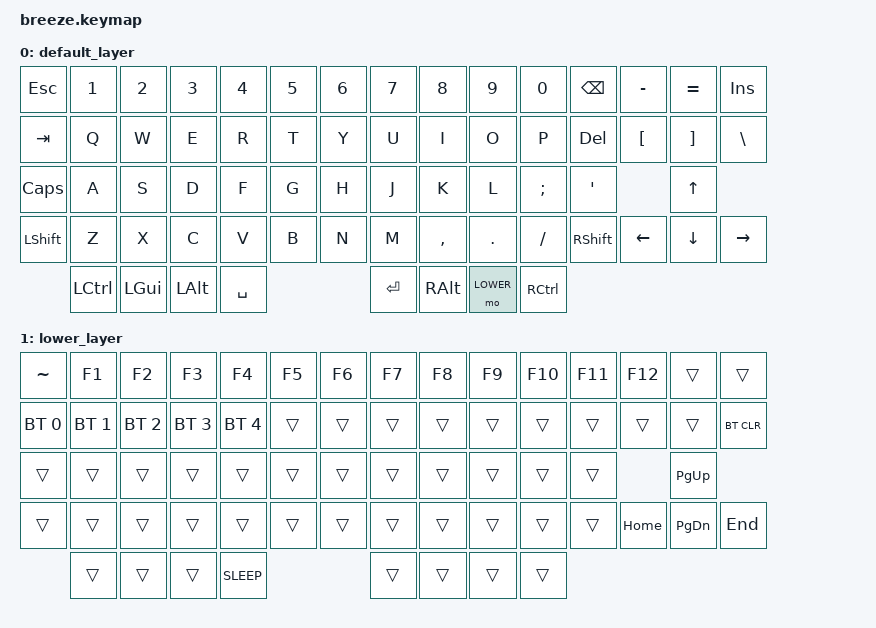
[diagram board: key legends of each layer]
/*
 * Copyright (c) 2020 The ZMK Contributors
 *
 * SPDX-License-Identifier: MIT
 */

#include <behaviors.dtsi>
#include <dt-bindings/zmk/keys.h>
#include <dt-bindings/zmk/bt.h>

#define LOWER 1

/ {
        keymap {
                compatible = "zmk,keymap";

                default_layer {
// -----------------------------------------------------------------------------------------
// | ESC  |  1  |  2  |  3  |  4  |  5  |   |  6  |  7   |  8  |  9  |  0  | BKSP | -   |  =   |  INS |
// |  TAB |  Q  |  W  |  E  |  R  |  T  |   |  Y  |  U   |  I  |  O  |  P  | DEL  | [   |  ]   |  \   | 
// | CAPS |  A  |  S  |  D  |  F  |  G  |   |  H  |  J   |  K  |  L  |  ;  |  '   |     |  UP  |      |
// | SHFT |  Z  |  X  |  C  |  V  |  B  |   |  N  |  M   |  ,  |  .  |  /  | SHFT |LEFT | DOWN | RIGHT|
//              | CTRL| GUI | LALT| SPC |   | ENT | RALT | MO1 | CTRL|
                        bindings = <
   &kp ESC   &kp N1 &kp N2 &kp N3 &kp N4 &kp N5   &kp N6 &kp N7  &kp N8     &kp N9   &kp N0    &kp BSPC   &kp MINUS &kp EQUAL &kp INS                  
   &kp TAB   &kp Q  &kp W  &kp E  &kp R  &kp T    &kp Y  &kp U   &kp I      &kp O    &kp P     &kp DEL    &kp LBKT  &kp RBKT  &kp BSLH
   &kp CAPS  &kp A  &kp S  &kp D  &kp F  &kp G    &kp H  &kp J   &kp K      &kp L    &kp SEMI  &kp SQT              &kp UP
   &kp LSHFT &kp Z  &kp X  &kp C  &kp V  &kp B    &kp N  &kp M   &kp COMMA  &kp DOT  &kp FSLH  &kp RSHFT  &kp LEFT  &kp DOWN  &kp RIGHT
             &kp LCTRL &kp LGUI &kp LALT &kp SPACE  &kp RET  &kp RALT &mo LOWER  &kp RCTRL
                        >;
                };
                lower_layer {
// -----------------------------------------------------------------------------------------
// |C_SLEEP|  F1       |  F2        |  F3        |  F4        |  F5        |   |  F6 |  F7  |  F8 |  F9 | F10 | F11  | F12 |      |      |
// |       |  BT_SEL 0 |  BT_SEL 0  |  BT_SEL 0  |  BT_SEL 0  |  BT_SEL 0  |   |     |      |     |     |     |      |     |      |      | 
// |       |           |            |            |            |            |   |     |      |     |     |     |      |     |PG_UP |      |
// |       |           |            |            |            |            |   |     |      |     |     |     |      |HOME |PG_DN | END  |
//              |     |     |     |     |   |     |      |     |     |
                        bindings = <
&kp TILDE  &kp F1  &kp F2  &kp F3  &kp F4  &kp F5      &kp F6  &kp F7  &kp F8  &kp F9  &kp F10  &kp F11  &kp F12  &trans  &trans
&bt BT_SEL 0  &bt BT_SEL 1  &bt BT_SEL 2  &bt BT_SEL 3  &bt BT_SEL 4        &trans  &trans  &trans  &trans  &trans  &trans  &trans  &trans  &trans
&bt BT_CLR  &trans  &trans  &trans  &trans  &trans      &trans &trans &trans  &trans  &trans  &trans   &trans  &kp PG_UP  
&trans  &trans  &trans  &trans  &trans  &trans     &trans &trans  &trans  &trans &trans &trans  &kp HOME  &kp PG_DN  &kp END
      &trans  &trans  &trans  &kp K_SLEEP  &trans  &trans  &trans  &trans            
                        >;  
                };
        };
};

